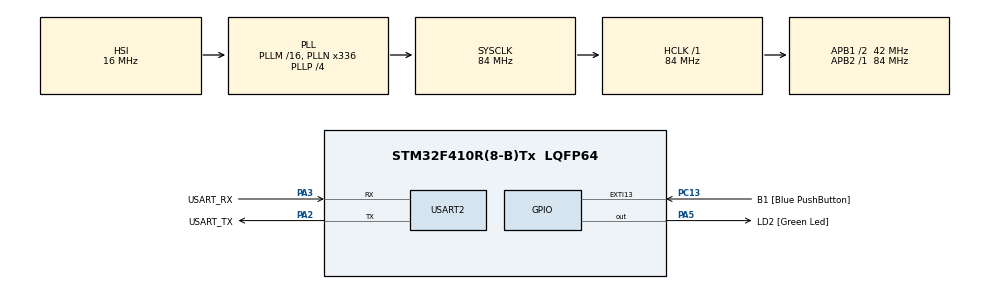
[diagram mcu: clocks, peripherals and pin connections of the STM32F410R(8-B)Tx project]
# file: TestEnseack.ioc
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Mcu.Family=STM32F4
Mcu.Name=STM32F410R(8-B)Tx
Mcu.Package=LQFP64
NVIC.PriorityGroup=NVIC_PRIORITYGROUP_0
NVIC.USART2_IRQn=true\:0\:0\:false\:false\:true\:true\:true\:true
PA13.GPIO_Label=TMS
PA13.Mode=Serial_Wire
PA13.Signal=SYS_JTMS-SWDIO
PA14.GPIO_Label=TCK
PA14.Mode=Serial_Wire
PA14.Signal=SYS_JTCK-SWCLK
PA2.GPIO_Label=USART_TX
PA2.Mode=Asynchronous
PA2.Signal=USART2_TX
PA3.GPIO_Label=USART_RX
PA3.Mode=Asynchronous
PA3.Signal=USART2_RX
PA5.GPIO_Label=LD2 [Green Led]
PA5.Signal=GPIO_Output
PB3.GPIO_Label=SWO
PB3.Signal=SYS_JTDO-SWO
PC13-ANTI_TAMP.GPIO_Label=B1 [Blue PushButton]
PC13-ANTI_TAMP.GPIO_ModeDefaultEXTI=GPIO_MODE_IT_FALLING
PC13-ANTI_TAMP.Signal=GPXTI13
PC14-OSC32_IN.Mode=LSE-External-Oscillator
PC14-OSC32_IN.Signal=RCC_OSC32_IN
PC15-OSC32_OUT.Mode=LSE-External-Oscillator
PC15-OSC32_OUT.Signal=RCC_OSC32_OUT
PH0\ -\ OSC_IN.Mode=HSE-External-Clock-Source
PH0\ -\ OSC_IN.Signal=RCC_OSC_IN
PH1\ -\ OSC_OUT.Mode=HSE-External-Clock-Source
PH1\ -\ OSC_OUT.Signal=RCC_OSC_OUT
ProjectManager.HeapSize=0x200
ProjectManager.StackSize=0x400
ProjectManager.TargetToolchain=STM32CubeIDE
RCC.48MHZClocksFreq_Value=84000000
RCC.AHBFreq_Value=84000000
RCC.APB1CLKDivider=RCC_HCLK_DIV2
RCC.APB1Freq_Value=42000000
RCC.APB1TimFreq_Value=84000000
RCC.APB2Freq_Value=84000000
RCC.APB2TimFreq_Value=84000000
RCC.CortexFreq_Value=84000000
RCC.FLatency-AdvancedSettings=FLASH_LATENCY_2
RCC.HCLKFreq_Value=84000000
RCC.HSE_VALUE=8000000
RCC.HSI_VALUE=16000000
RCC.PLLN=336
RCC.PLLP=RCC_PLLP_DIV4
RCC.SYSCLKFreq_VALUE=84000000
RCC.SYSCLKSource=RCC_SYSCLKSOURCE_PLLCLK
RCC.VCOOutputFreq_Value=336000000
USART2.VirtualMode=VM_ASYNC
board=NUCLEO-F410RB

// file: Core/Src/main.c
/* USER CODE BEGIN Header */
/**
 ******************************************************************************
 * @file           : main.c
 * @brief          : Main program body
 ******************************************************************************
 * @attention
 *
 * Copyright (c) 2024 STMicroelectronics.
 * All rights reserved.
 *
 * This software is licensed under terms that can be found in the LICENSE file
 * in the root directory of this software component.
 * If no LICENSE file comes with this software, it is provided AS-IS.
 *
 ******************************************************************************
 */
/* USER CODE END Header */
#include "main.h"

/* USER CODE BEGIN Includes */
#include <string.h>
#include "Led.h"
/* USER CODE END Includes */

UART_HandleTypeDef huart2;

/* USER CODE BEGIN PV */
#define BUFFER_SIZE 10

uint8_t rxBuffer[BUFFER_SIZE]; // Tampon de réception
uint8_t rxData;

volatile uint8_t rxBufferIndex = 0;
/* USER CODE END PV */

void SystemClock_Config(void);
static void MX_GPIO_Init(void);
static void MX_USART2_UART_Init(void);

int main(void)
{

	/* MCU Configuration--------------------------------------------------------*/

	/* Reset of all peripherals, Initializes the Flash interface and the Systick. */
	HAL_Init();

	/* Configure the system clock */
	SystemClock_Config();

	/* Initialize all configured peripherals */
	MX_GPIO_Init();
	MX_USART2_UART_Init();
	/* USER CODE BEGIN 2 */
	char txData[] = "Hello, COM8!\r\n";

	HAL_UART_Transmit(&huart2, (uint8_t*)txData, strlen(txData), HAL_MAX_DELAY); // Transmettre les données via USART2

	HAL_UART_Receive_IT(&huart2, rxBuffer, 1);

	/* USER CODE END 2 */

	/* Infinite loop */
	/* USER CODE BEGIN WHILE */
	while (1)
	{
		//	  if (allumer){	  HAL_Delay(1000); // Attendre 1 seconde

		/*	    HAL_UART_Transmit(&huart2, (uint8_t*)txData, strlen(txData), HAL_MAX_DELAY);
	    HAL_Delay(3000); // Attendre 1 seconde
	    HAL_GPIO_WritePin(LED_PORT, LED_PIN, GPIO_PIN_RESET); // Éteindre la LED
		 */	    HAL_Delay(100); // Attendre 1 seconde

		 //	  }
		 /* USER CODE END WHILE */

	}
}

void SystemClock_Config(void)
{
	RCC_OscInitTypeDef RCC_OscInitStruct = {0};
	RCC_ClkInitTypeDef RCC_ClkInitStruct = {0};

	/** Configure the main internal regulator output voltage
	 */
	__HAL_RCC_PWR_CLK_ENABLE();
	__HAL_PWR_VOLTAGESCALING_CONFIG(PWR_REGULATOR_VOLTAGE_SCALE1);

	/** Initializes the RCC Oscillators according to the specified parameters
	 * in the RCC_OscInitTypeDef structure.
	 */
	RCC_OscInitStruct.OscillatorType = RCC_OSCILLATORTYPE_HSI;
	RCC_OscInitStruct.HSIState = RCC_HSI_ON;
	RCC_OscInitStruct.HSICalibrationValue = RCC_HSICALIBRATION_DEFAULT;
	RCC_OscInitStruct.PLL.PLLState = RCC_PLL_ON;
	RCC_OscInitStruct.PLL.PLLSource = RCC_PLLSOURCE_HSI;
	RCC_OscInitStruct.PLL.PLLM = 16;
	RCC_OscInitStruct.PLL.PLLN = 336;
	RCC_OscInitStruct.PLL.PLLP = RCC_PLLP_DIV4;
	RCC_OscInitStruct.PLL.PLLQ = 4;
	RCC_OscInitStruct.PLL.PLLR = 2;
	if (HAL_RCC_OscConfig(&RCC_OscInitStruct) != HAL_OK)
	{
		Error_Handler();
	}

	/** Initializes the CPU, AHB and APB buses clocks
	 */
	RCC_ClkInitStruct.ClockType = RCC_CLOCKTYPE_HCLK|RCC_CLOCKTYPE_SYSCLK
			|RCC_CLOCKTYPE_PCLK1|RCC_CLOCKTYPE_PCLK2;
	RCC_ClkInitStruct.SYSCLKSource = RCC_SYSCLKSOURCE_PLLCLK;
	RCC_ClkInitStruct.AHBCLKDivider = RCC_SYSCLK_DIV1;
	RCC_ClkInitStruct.APB1CLKDivider = RCC_HCLK_DIV2;
	RCC_ClkInitStruct.APB2CLKDivider = RCC_HCLK_DIV1;

	if (HAL_RCC_ClockConfig(&RCC_ClkInitStruct, FLASH_LATENCY_2) != HAL_OK)
	{
		Error_Handler();
	}
}

static void MX_USART2_UART_Init(void)
{

	huart2.Instance = USART2;
	huart2.Init.BaudRate = 115200;
	huart2.Init.WordLength = UART_WORDLENGTH_8B;
	huart2.Init.StopBits = UART_STOPBITS_1;
	huart2.Init.Parity = UART_PARITY_NONE;
	huart2.Init.Mode = UART_MODE_TX_RX;
	huart2.Init.HwFlowCtl = UART_HWCONTROL_NONE;
	huart2.Init.OverSampling = UART_OVERSAMPLING_16;
	if (HAL_UART_Init(&huart2) != HAL_OK)
	{
		Error_Handler();
	}

}

static void MX_GPIO_Init(void)
{
	GPIO_InitTypeDef GPIO_InitStruct = {0};

	/* GPIO Ports Clock Enable */
	__HAL_RCC_GPIOC_CLK_ENABLE();
	__HAL_RCC_GPIOH_CLK_ENABLE();
	__HAL_RCC_GPIOA_CLK_ENABLE();
	__HAL_RCC_GPIOB_CLK_ENABLE();

	/*Configure GPIO pin Output Level */
	HAL_GPIO_WritePin(LD2_GPIO_Port, LD2_Pin, GPIO_PIN_RESET);

	/*Configure GPIO pin : B1_Pin */
	GPIO_InitStruct.Pin = B1_Pin;
	GPIO_InitStruct.Mode = GPIO_MODE_IT_FALLING;
	GPIO_InitStruct.Pull = GPIO_NOPULL;
	HAL_GPIO_Init(B1_GPIO_Port, &GPIO_InitStruct);

	/*Configure GPIO pin : LD2_Pin */
	GPIO_InitStruct.Pin = LD2_Pin;
	GPIO_InitStruct.Mode = GPIO_MODE_OUTPUT_PP;
	GPIO_InitStruct.Pull = GPIO_NOPULL;
	GPIO_InitStruct.Speed = GPIO_SPEED_FREQ_LOW;
	HAL_GPIO_Init(LD2_GPIO_Port, &GPIO_InitStruct);

}

/* USER CODE BEGIN 4 */
static uint8_t i = 0;
void HAL_UART_RxCpltCallback(UART_HandleTypeDef *huart) {

	if (huart->Instance == USART2) {
		// Réception complète, le message est dans le tampon rxBuffer
		// Vous pouvez traiter le message ici ou le stocker dans une variable globale pour un traitement ultérieur
		//HAL_GPIO_TogglePin(LED_PORT, LED_PIN);

		if (rxBuffer[i] != '\r') {
			rxBuffer[++i] = rxBuffer[0];
			HAL_UART_Receive_IT(&huart2, (uint8_t *) rxBuffer + i, 1);
		} else {
			rxBuffer[i] = '\0'; // Terminer la chaîne avec un null byte
			//uart_rx_flag = 1; // Indicateur de réception de données
			i = 0; // Réinitialiser l'index du buffer
			HAL_UART_Receive_IT(&huart2, (uint8_t *) rxBuffer, 1); // Réactiver la réception
		}

		/*Partie de la fonction permettant de traiter les infos du buffer */

		if (strcmp((char*)rxBuffer + '\0', "LED") == 0){	/* change l'état de la led */
			rxBufferIndex =0;
			changerEtatLed();
		}
/*		 if(rxBufferIndex < BUFFER_SIZE - 1) {
		            rxBuffer[rxBufferIndex++] = rxData; // Terminer la chaîne avec un caractère nul

			if (strcmp((char*)rxBuffer + '\0', "LED") == 0){
				rxBufferIndex =0;
				allumer = 1 - allumer ;
				HAL_GPIO_WritePin(LED_PORT, LED_PIN, allumer); // Allume la LED
			}

			HAL_UART_Receive_IT(&huart2, &rxData, 1); // Activer la réception interruptive pour le prochain octet

		 } else {
			 rxBuffer[rxBufferIndex] = '\0';
			 rxBufferIndex =0;
		 }*/
	}
}
/* USER CODE END 4 */

void Error_Handler(void)
{
	__disable_irq();
	while (1)
	{
	}
}
